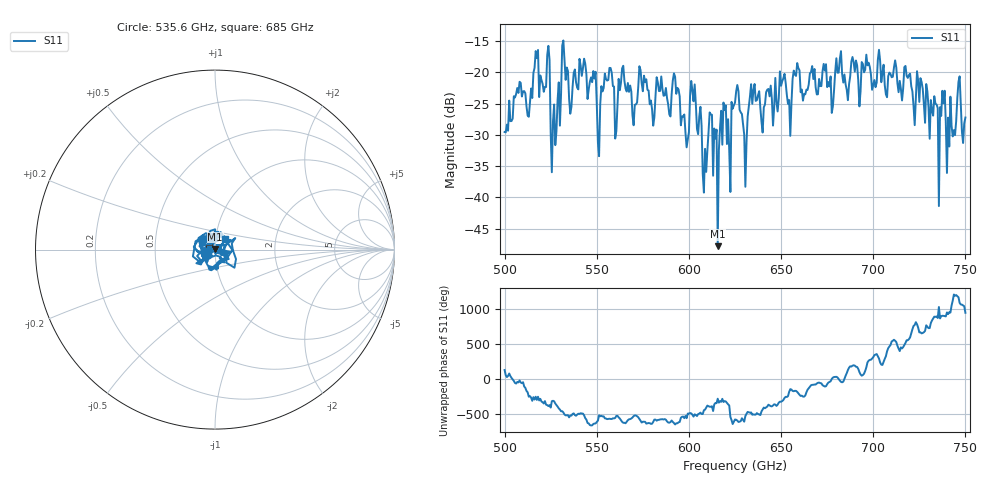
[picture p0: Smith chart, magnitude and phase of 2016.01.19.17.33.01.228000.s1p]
!Created with skrf (http://scikit-rf.org).
# GHz S RI R 50.0
!freq ReS11 ImS11
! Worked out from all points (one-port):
!   401 points, 500 GHz to 750 GHz, reference 50 ohm
!   lowest |S11| = -47.8 dB at 615.6 GHz (marker M1), VSWR 1.01, Z = 50.1 + j0.394 ohm
!   |S11| at or under -10 dB: start of sweep to end of sweep
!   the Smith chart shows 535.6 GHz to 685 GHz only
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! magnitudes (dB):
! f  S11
! 500 GHz  -29.5
! 507.5 GHz  -23.3
! 513.8 GHz  -24.7
! 516.9 GHz  -16.6
! 523.1 GHz  -17.2
! 526.9 GHz  -25.1
! 531.2 GHz  -15.7
! 548.1 GHz  -19.8
! 551.2 GHz  -33.4
! 555.6 GHz  -21.3
! 560 GHz  -30.6
! 562.5 GHz  -22.8
! 593.8 GHz  -22.5
! 598.8 GHz  -32.0
! 602.5 GHz  -24.6
! 608.8 GHz  -32.2
! 611.2 GHz  -26.4
! 615.6 GHz  -47.8
! 625 GHz  -24.8
! 630.6 GHz  -38.3
! 634.4 GHz  -25.0
! 656.2 GHz  -21.0
! 687.5 GHz  -20.6
! 718.8 GHz  -20.9
! 735.6 GHz  -41.4
! 743.8 GHz  -29.2
! 746.2 GHz  -21.5
! 750 GHz  -27.2
